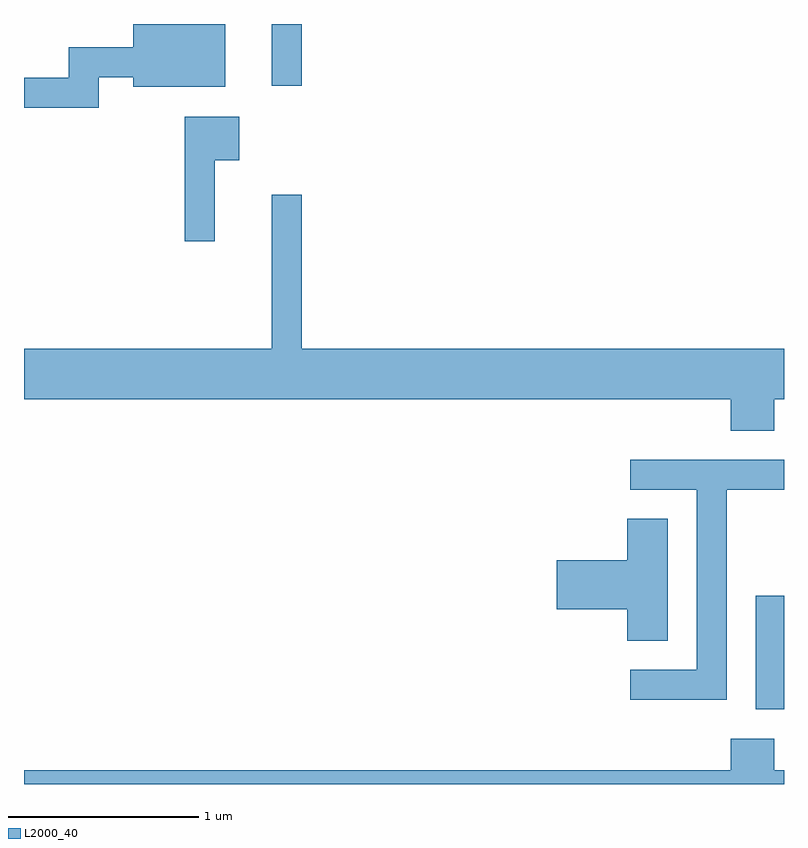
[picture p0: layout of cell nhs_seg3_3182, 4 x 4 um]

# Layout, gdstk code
import gdstk
lib = gdstk.Library(unit=1e-6, precision=1e-09)
def R(c, l, rs):  # rectangles x0, y0, x1, y1
    for r in rs: c.add(gdstk.rectangle(r[:2], r[2:], *l))
def P(c, l, *ps):  # polygons
    for p in ps: c.add(gdstk.Polygon(p, *l))
L2000_40 = (2000, 40)

nhs_seg3_3182 = lib.new_cell('nhs_seg3_3182')
R(nhs_seg3_3182, L2000_40, [(281.461,1224.286,281.611,1224.884), (278.916,1227.568,279.074,1227.892)])
P(nhs_seg3_3182, L2000_40, [(278.004,1227.611),(278.186,1227.611),(278.186,1227.561),(278.669,1227.561),(278.669,1227.892),(278.186,1227.892),(278.186,1227.769),(277.846,1227.769),(277.846,1227.609),(277.611,1227.609),(277.611,1227.451),(278.004,1227.451)],
  [(278.614,1227.176),(278.744,1227.176),(278.744,1227.404),(278.456,1227.404),(278.456,1226.748),(278.614,1226.748)],
  [(281.559,1225.916),(281.611,1225.916),(281.611,1226.184),(279.074,1226.184),(279.074,1226.993),(278.916,1226.993),(278.916,1226.184),(277.611,1226.184),(277.611,1225.916),(281.331,1225.916),(281.331,1225.751),(281.559,1225.751)],
  [(281.309,1225.441),(281.611,1225.441),(281.611,1225.599),(280.803,1225.599),(280.803,1225.441),(281.151,1225.441),(281.151,1224.494),(280.803,1224.494),(280.803,1224.336),(281.309,1224.336)],
  [(280.999,1225.289),(280.786,1225.289),(280.786,1225.069),(280.416,1225.069),(280.416,1224.811),(280.786,1224.811),(280.786,1224.646),(280.999,1224.646)],
  [(281.611,1223.964),(281.559,1223.964),(281.559,1224.129),(281.331,1224.129),(281.331,1223.964),(277.611,1223.964),(277.611,1223.892),(281.611,1223.892)])

lib.write_gds('nhs_seg3_3182.gds')
